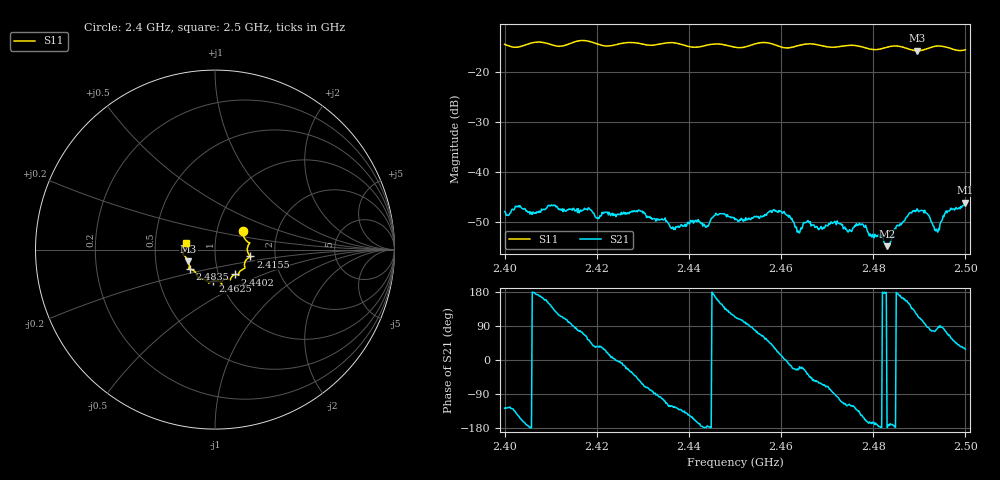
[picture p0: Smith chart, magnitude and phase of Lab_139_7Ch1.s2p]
# Hz S RI R 50
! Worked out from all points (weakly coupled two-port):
!   601 points, 2.4 GHz to 2.5 GHz, reference 50 ohm
!   highest |S21| = -46.11 dB at 2.5 GHz (marker M1); lowest = -54.8 dB at 2.483 GHz (marker M2)
!   lowest |S11| = -15.8 dB at 2.4895 GHz (marker M3), VSWR 1.39, Z = 36.8 - j4.99 ohm
!   |S11| at or under -10 dB: start of sweep to end of sweep
!   S12 and S22 are empty: the file has one direction only
!   S11 on the Smith chart (normalised r, x): 2.4 GHz: 1.33, +0.29; 2.4155 GHz: 1.49, -0.12; 2.4402 GHz: 1.20, -0.34; 2.4625 GHz: 0.92, -0.33; 2.4835 GHz: 0.74, -0.17; 2.5 GHz: 0.72, +0.06
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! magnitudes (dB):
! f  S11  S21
! 2.4 GHz  -14.5  -47.9
! 2.4155 GHz  -13.9  -47.7
! 2.4167 GHz  -13.8  -47.8
! 2.4293 GHz  -14.4  -47.7
! 2.4333 GHz  -14.5  -49.4
! 2.4365 GHz  -14.2  -50.9
! 2.4402 GHz  -15.0  -50.3
! 2.45 GHz  -15.1  -49.5
! 2.4587 GHz  -14.6  -47.8
! 2.4625 GHz  -15.1  -49.8
! 2.464 GHz  -14.7  -52.1
! 2.4667 GHz  -14.4  -50.6
! 2.4773 GHz  -15.0  -50.5
! 2.483 GHz  -15.1  -54.8
! 2.4833 GHz  -15.0  -54.5
! 2.4835 GHz  -15.0  -54.7
! 2.4848 GHz  -14.9  -51.4
! 2.4895 GHz  -15.8  -47.3
! 2.4917 GHz  -15.4  -48.2
! 2.4938 GHz  -14.9  -51.7
! 2.496 GHz  -15.1  -48.1
! 2.5 GHz  -15.6  -46.1
